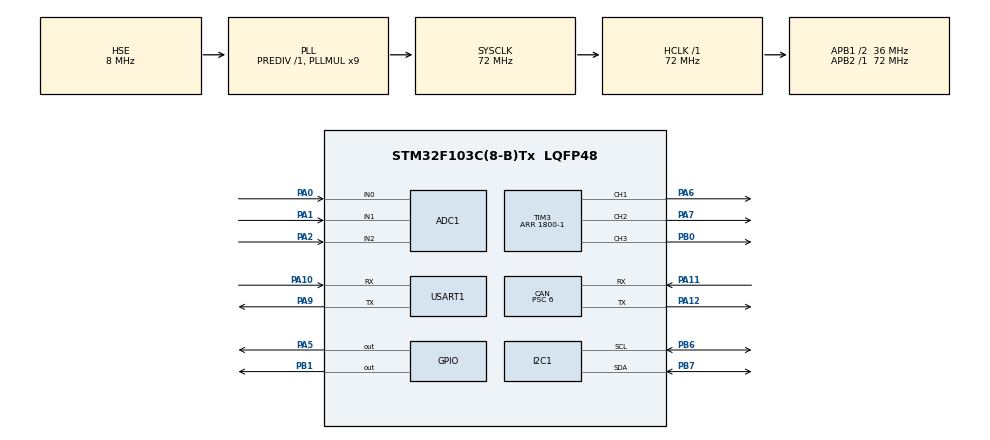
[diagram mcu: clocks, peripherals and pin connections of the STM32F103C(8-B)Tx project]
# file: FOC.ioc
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ADC1.Channel-0\#ChannelRegularConversion=ADC_CHANNEL_0
ADC1.Channel-1\#ChannelRegularConversion=ADC_CHANNEL_1
ADC1.Channel-2\#ChannelRegularConversion=ADC_CHANNEL_2
ADC1.ContinuousConvMode=ENABLE
ADC1.ExternalTrigConv=ADC_SOFTWARE_START
ADC1.NbrOfConversion=3
ADC1.NbrOfConversionFlag=1
ADC1.Rank-0\#ChannelRegularConversion=1
ADC1.Rank-1\#ChannelRegularConversion=2
ADC1.Rank-2\#ChannelRegularConversion=3
ADC1.SamplingTime-0\#ChannelRegularConversion=ADC_SAMPLETIME_1CYCLE_5
ADC1.SamplingTime-1\#ChannelRegularConversion=ADC_SAMPLETIME_1CYCLE_5
ADC1.SamplingTime-2\#ChannelRegularConversion=ADC_SAMPLETIME_1CYCLE_5
ADC1.master=1
CAN.BS1=CAN_BS1_3TQ
CAN.BS2=CAN_BS2_2TQ
CAN.CalculateBaudRate=999999
CAN.CalculateTimeBit=1000
CAN.CalculateTimeQuantum=166.66666666666669
CAN.Mode=CAN_MODE_NORMAL
CAN.Prescaler=6
Dma.ADC1.0.Direction=DMA_PERIPH_TO_MEMORY
Dma.ADC1.0.Instance=DMA1_Channel1
Dma.ADC1.0.MemDataAlignment=DMA_MDATAALIGN_HALFWORD
Dma.ADC1.0.MemInc=DMA_MINC_ENABLE
Dma.ADC1.0.Mode=DMA_CIRCULAR
Dma.ADC1.0.PeriphDataAlignment=DMA_PDATAALIGN_HALFWORD
Dma.ADC1.0.PeriphInc=DMA_PINC_DISABLE
Dma.ADC1.0.Priority=DMA_PRIORITY_LOW
Dma.Request0=ADC1
I2C1.I2C_Mode=I2C_Fast
Mcu.Family=STM32F1
Mcu.Name=STM32F103C(8-B)Tx
Mcu.Package=LQFP48
NVIC.CAN1_RX1_IRQn=true\:0\:0\:false\:false\:true\:true\:true\:true
NVIC.PriorityGroup=NVIC_PRIORITYGROUP_4
NVIC.TIM1_BRK_IRQn=true\:1\:0\:true\:false\:true\:true\:true\:true
NVIC.TIM1_CC_IRQn=true\:1\:0\:true\:false\:true\:true\:true\:true
NVIC.TIM1_TRG_COM_IRQn=true\:1\:0\:true\:false\:true\:true\:true\:true
NVIC.TIM1_UP_IRQn=true\:1\:0\:true\:false\:true\:true\:true\:true
NVIC.TIM3_IRQn=true\:0\:0\:false\:false\:true\:true\:true\:true
NVIC.USART1_IRQn=true\:0\:0\:false\:false\:true\:true\:true\:true
NVIC.USB_LP_CAN1_RX0_IRQn=true\:0\:0\:false\:false\:true\:true\:true\:true
PA0-WKUP.Signal=ADCx_IN0
PA1.Signal=ADCx_IN1
PA10.GPIO_PuPd=GPIO_PULLUP
PA10.Mode=Asynchronous
PA10.Signal=USART1_RX
PA11.Mode=CAN_Activate
PA11.Signal=CAN_RX
PA12.Mode=CAN_Activate
PA12.Signal=CAN_TX
PA13.Mode=Serial_Wire
PA13.Signal=SYS_JTMS-SWDIO
PA14.Mode=Serial_Wire
PA14.Signal=SYS_JTCK-SWCLK
PA2.Signal=ADCx_IN2
PA5.Signal=GPIO_Output
PA6.Signal=S_TIM3_CH1
PA7.Signal=S_TIM3_CH2
PA9.Mode=Asynchronous
PA9.Signal=USART1_TX
PB0.Signal=S_TIM3_CH3
PB1.Signal=GPIO_Output
PB6.Mode=I2C
PB6.Signal=I2C1_SCL
PB7.Mode=I2C
PB7.Signal=I2C1_SDA
PD0-OSC_IN.Mode=HSE-External-Oscillator
PD0-OSC_IN.Signal=RCC_OSC_IN
PD1-OSC_OUT.Mode=HSE-External-Oscillator
PD1-OSC_OUT.Signal=RCC_OSC_OUT
ProjectManager.HeapSize=0x200
ProjectManager.StackSize=0x400
ProjectManager.TargetToolchain=MDK-ARM V5
RCC.ADCPresc=RCC_ADCPCLK2_DIV6
RCC.AHBFreq_Value=72000000
RCC.APB1CLKDivider=RCC_HCLK_DIV2
RCC.APB1Freq_Value=36000000
RCC.APB1TimFreq_Value=72000000
RCC.APB2Freq_Value=72000000
RCC.APB2TimFreq_Value=72000000
RCC.HCLKFreq_Value=72000000
RCC.PLLMUL=RCC_PLL_MUL9
RCC.PLLSourceVirtual=RCC_PLLSOURCE_HSE
RCC.SYSCLKFreq_VALUE=72000000
RCC.SYSCLKSource=RCC_SYSCLKSOURCE_PLLCLK
RCC.USBFreq_Value=72000000
SH.ADCx_IN0.0=ADC1_IN0,IN0
SH.ADCx_IN1.0=ADC1_IN1,IN1
SH.ADCx_IN2.0=ADC1_IN2,IN2
SH.S_TIM3_CH1.0=TIM3_CH1,PWM Generation1 CH1
SH.S_TIM3_CH2.0=TIM3_CH2,PWM Generation2 CH2
SH.S_TIM3_CH3.0=TIM3_CH3,PWM Generation3 CH3
TIM1.Period=100-1
TIM1.Prescaler=36-1
TIM3.Channel-PWM\ Generation1\ CH1=TIM_CHANNEL_1
TIM3.Channel-PWM\ Generation2\ CH2=TIM_CHANNEL_2
TIM3.Channel-PWM\ Generation3\ CH3=TIM_CHANNEL_3
TIM3.Channel-PWM\ Generation4\ No\ Output=TIM_CHANNEL_4
TIM3.CounterMode=TIM_COUNTERMODE_CENTERALIGNED1
TIM3.OCMode_PWM-PWM\ Generation4\ No\ Output=TIM_OCMODE_PWM2
TIM3.Period=1800-1
TIM3.TIM_MasterOutputTrigger=TIM_TRGO_RESET
USART1.VirtualMode=VM_ASYNC
VP_TIM1_VS_ClockSourceINT.Mode=Internal
VP_TIM3_VS_ClockSourceINT.Mode=Internal
VP_TIM3_VS_no_output4.Mode=PWM Generation4 No Output
board=custom

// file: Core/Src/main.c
/* USER CODE BEGIN Header */
/**
  ******************************************************************************
  * @file           : main.c
  * @brief          : Main program body
  ******************************************************************************
  */
/* USER CODE END Header */
#include "main.h"
#include "adc.h"
#include "can.h"
#include "dma.h"
#include "i2c.h"
#include "tim.h"
#include "usart.h"
#include "gpio.h"

/* USER CODE BEGIN Includes */
#include "Foc.h"
#include "drv_tim.h"
#include "drv_can.h"
#include "can_proto.h"
#include "motor_msg.h"
#include "uart_proto.h"
#include "motor_ctrl.h"
#include "angle_as5600.h"
#include "pwm_3phase.h"
#include "motor_config.h"
#include "flash_storage.h"
#include "led_indicator.h"
/* 差分法观测器（角度直通，速度差分） */
/* #include "observer_diff.h" */
/* 龙伯格观测器（二阶模型，同时滤波位置和速度） */
#include "observer_luenberger.h"
/* USER CODE END Includes */

/* USER CODE BEGIN PD */

/** @brief FOC 控制频率 (Hz) —— 观测器和 FOC 共用的唯一频率源头 */
#define FOC_RATE_HZ  1000.0f

/* USER CODE END PD */

/* USER CODE BEGIN PV */
float vofa_message[8];
/* USER CODE END PV */

void SystemClock_Config(void);
/* USER CODE BEGIN PFP */
static void IWDG_Init(void);
static void VOFA_SendDebug(void);
/* USER CODE END PFP */

int main(void)
{

  /* MCU Configuration--------------------------------------------------------*/

  /* Reset of all peripherals, Initializes the Flash interface and the Systick. */
  HAL_Init();

  /* Configure the system clock */
  SystemClock_Config();

  /* Initialize all configured peripherals */
  MX_GPIO_Init();
  MX_DMA_Init();
  MX_I2C1_Init();
  MX_TIM3_Init();
  MX_TIM1_Init();
  MX_CAN_Init();
  MX_USART1_UART_Init();
  MX_ADC1_Init();
  /* USER CODE BEGIN 2 */

  /* ================================================================
   *  第 1 步：电机硬件配置
   *
   *  MotorConfig_t 集中管理极对数、母线电压、控制频率，
   *  同时注入 FOC 控制器和 PWM 驱动，消除重复配置。
   * ================================================================ */
  MotorConfig_t cfg = {
      .pole_pairs  = 7,
      .bus_voltage = 12.0f,
      .rate_hz     = FOC_RATE_HZ,
  };

  /* ================================================================
   *  第 2 步：创建硬件接口实例
   *
   *  AS5600_Create()  →  填充 AngleSensor_t，封装 I2C
   *  PWM3Phase_Create() → 填充 PwmOutput_t，封装 TIM3 PWM
   *                      set_duty 接收归一化值，不再需要母线电压
   *
   *  换编码器 / 换 PWM 方案 = 只改下面两行
   * ================================================================ */
  HAL_Delay(100);
  AngleSensor_t sensor = AS5600_Create(&hi2c1);
  PwmOutput_t   pwm    = PWM3Phase_Create(&htim3);
  HAL_Delay(100);

  /* ================================================================
   *  第 3 步：创建非易失存储接口 + 观测器 + 初始化 FOC 控制器
   *
   *  FlashStorage_Create 封装 STM32 Flash 擦写，
   *  换其它介质（EEPROM/FRAM）只需换一个工厂函数。
   *
   *  观测器（Observer）负责将原始角度转为滤波后角度和估计速度。
   *  默认用差分法（ObserverDiff_Create），换龙伯格只需：
   *     ObserverLuenberger_Config obs_cfg = { .rate_hz = FOC_RATE_HZ, ... };
   *     Observer_t angle_obs = ObserverLuenberger_Create(&obs_cfg);
   *
   *  FOC_Init(&Motor, &sensor, &pwm, &cfg, &flash, &angle_obs)
   *  所有电机参数通过 cfg 传入，存储接口通过 flash 传入。
   *
   *  ⚠ 频率改一个地方就够了：改 #define FOC_RATE_HZ，观测器和 FOC 都同步。
   * ================================================================ */
  NvStorage_t flash = FlashStorage_Create(0x0800FC00, 0xF0C0F0C0, 1024);

  /* 创建角度/速度观测器（使用龙伯格观测器，同时滤波位置和速度） */
  ObserverLuenberger_Config obs_cfg = {
      .rate_hz   = FOC_RATE_HZ,
      .l1        = 0.5f,        /* 位置校正增益——提高跟踪速度，控制滞后在 ~2ms */
      .l2        = 1.0f,        /* 速度校正增益——轻柔估计，不给速度环注入抖动 */
      .speed_max = 10000.0f,    /* 速度限幅 (rpm) */
  };
  Observer_t angle_obs = ObserverLuenberger_Create(&obs_cfg);

  FOC_Init(&Motor, &sensor, &pwm, &cfg, &flash, &angle_obs);

  /* ================================================================
   *  第 4 步：设置 PID 参数
   *
   *  PID 已做时间归一化（integral *= dt），ki 值自动适配频率。
   *  你传入原来的 ki 值即可，效果不变。
   *
   *  原代码对照：
   *    pid_controller_create(&FOC_1.FOC_S_PID, 0.01, 0.004, 0, 1000, 1000, 6);
   *    → FOC_SetSpdPID(&Motor, 0.01, 0.004, 0, 6);
   *
   *    pid_controller_create(&FOC_1.FOC_P_PID, 5, 0, 0, 1000, 2000, 2000);
   *    → FOC_SetPosPID(&Motor, 5, 0, 0, 2000);
   * ================================================================ */
  FOC_SetSpdPID(&Motor, 0.1f,   0.004f, 0.0f, 6.0f);     /* 串级速度环（位置环内环） — Kp 从 0.01→0.1，解决稳态附近 P 项太弱靠积分慢爬 */
  FOC_SetPosPID(&Motor, 5.0f,   0.0f,   0.0f, 2000.0f);   /* 位置环 PD */
  FOC_SetSpdExtPID(&Motor, 0.05f, 0.01f, 0.0f, 12.0f);    /* 独立速度环 PI（速度模式专用） */

  /* ================================================================
   *  第 5 步：初始化驱动层 + 协议层
   *
   *  【初始化顺序很重要！】
   *  CAN_Init()       : 配置滤波器 + 启动 CAN 硬件
   *  MotorMsg_Init()  : 先初始化消息总线（消息总线准备就绪前，通信回调不能写它）
   *  CANProto_Init()  : 注册 CAN 回调（收到 CAN 帧 → 调 MotorMsg_OnFrameReceived）
   *  UARTProto_Init() : 使能 UART RX 中断（收到 UART 帧 → 调 MotorMsg_OnFrameReceived）
   *  TIM_Init()       : 最后启动时基中断（TIM1 硬件 20kHz → 软件 20 分频 → 1kHz FOC 循环）
   * ================================================================ */
  CAN_Init();
  HAL_Delay(100);
  MotorMsg_Init();    /* 先初始化消息总线 */
  CANProto_Init(1);    /* 再注册 CAN 回调，电机ID=1 → RX=0x001 TX=0x101 */
  UARTProto_Init();   /* 再使能 UART 接收 */
  TIM_Init();

  /* LED 初始状态：待机心跳（满亮度闪烁），覆盖默认的常灭 */
  LED_SetPattern(LED_PATTERN_HEARTBEAT);
  LED_SetBrightness(100);

  /* ================================================================
   *  第 6 步：注册控制回调
   *
   *  Motor_Loop()  : TIM1 中断 → 1kHz FOC 流水线
   * ================================================================ */
  TIM_RegisterCallback(Motor_Loop);

  /* ---- 启动独立看门狗（~2s 超时，主循环 + Motor_Loop 双重喂狗） ---- */
  IWDG_Init();

  /* USER CODE END 2 */

  /* Infinite loop */
  /* USER CODE BEGIN WHILE */
  while (1)
  {
      IWDG_REFRESH();   /* 喂独立看门狗 */
      VOFA_SendDebug();
    /* USER CODE END WHILE */

  }
}

void SystemClock_Config(void)
{
  RCC_OscInitTypeDef RCC_OscInitStruct = {0};
  RCC_ClkInitTypeDef RCC_ClkInitStruct = {0};
  RCC_PeriphCLKInitTypeDef PeriphClkInit = {0};

  /** Initializes the RCC Oscillators according to the specified parameters
  * in the RCC_OscInitTypeDef structure.
  */
  RCC_OscInitStruct.OscillatorType = RCC_OSCILLATORTYPE_HSE;
  RCC_OscInitStruct.HSEState = RCC_HSE_ON;
  RCC_OscInitStruct.HSEPredivValue = RCC_HSE_PREDIV_DIV1;
  RCC_OscInitStruct.HSIState = RCC_HSI_ON;
  RCC_OscInitStruct.PLL.PLLState = RCC_PLL_ON;
  RCC_OscInitStruct.PLL.PLLSource = RCC_PLLSOURCE_HSE;
  RCC_OscInitStruct.PLL.PLLMUL = RCC_PLL_MUL9;
  if (HAL_RCC_OscConfig(&RCC_OscInitStruct) != HAL_OK)
  {
    Error_Handler();
  }

  /** Initializes the CPU, AHB and APB buses clocks
  */
  RCC_ClkInitStruct.ClockType = RCC_CLOCKTYPE_HCLK|RCC_CLOCKTYPE_SYSCLK
                              |RCC_CLOCKTYPE_PCLK1|RCC_CLOCKTYPE_PCLK2;
  RCC_ClkInitStruct.SYSCLKSource = RCC_SYSCLKSOURCE_PLLCLK;
  RCC_ClkInitStruct.AHBCLKDivider = RCC_SYSCLK_DIV1;
  RCC_ClkInitStruct.APB1CLKDivider = RCC_HCLK_DIV2;
  RCC_ClkInitStruct.APB2CLKDivider = RCC_HCLK_DIV1;

  if (HAL_RCC_ClockConfig(&RCC_ClkInitStruct, FLASH_LATENCY_2) != HAL_OK)
  {
    Error_Handler();
  }
  PeriphClkInit.PeriphClockSelection = RCC_PERIPHCLK_ADC;
  PeriphClkInit.AdcClockSelection = RCC_ADCPCLK2_DIV6;
  if (HAL_RCCEx_PeriphCLKConfig(&PeriphClkInit) != HAL_OK)
  {
    Error_Handler();
  }
}

/* USER CODE BEGIN 4 */

/**
 * @brief  初始化独立看门狗（IWDG）
 *
 * 使用 LSI ~40kHz 时钟源，预分频 /256 → ~156.25 Hz。
 * 重装载值 312 → 超时 ≈ 312 / 156.25 ≈ 2.0s。
 *
 * 配置采用寄存器直接操作，不依赖 HAL_IWDG 模块，
 * 与 IWDG_REFRESH() 宏保持一致的风格。
 *
 * 调用时机：main() 中所有外设初始化完成后、主循环开始前。
 */
static void IWDG_Init(void)
{
    /* 开启 LSI 时钟（复位后默认关闭，需先启动再等就绪） */
    RCC->CSR |= RCC_CSR_LSION;
    while (!(RCC->CSR & RCC_CSR_LSIRDY));

    /* 解锁 PR / RLR 寄存器写保护 */
    IWDG->KR = 0x5555U;

    /* 预分频器 = /256: 40kHz / 256 = 156.25 Hz */
    IWDG->PR = 0x06U;

    /* 重装载 = 312: 312 / 156.25 ≈ 2.0s */
    IWDG->RLR = 0x0138U;

    /* 刷新计数器 */
    IWDG->KR = 0xAAAAU;

    /* 软件启动 IWDG（LSI 已就绪，启动后立即开始递减计数） */
    IWDG->KR = 0xCCCCU;
}

/**
 * @brief  通过 UART1 发送调试数据到 VOFA+ 串口示波器
 *
 * 帧格式（just-float 引擎）：
 *   8 × float (32 bytes) + 4-byte tail {0x00,0x00,0x80,0x7f}
 *
 * 触发条件：仅 CAN 模式下发送（由 MotorMsg_IsCANMode 判定）
 *   CAN 模式：VOFA+ 全速发送（UART 自定义协议停发，带宽空出）
 *   UART 模式：VOFA+ 停发（UART 自定义协议 1kHz 跑满）
 *
 * 通道映射：
 *   ch0 = 机械角度 (deg)        ch1 = 目标角度 (deg)
 *   ch2 = 转速 (rpm)            ch3 = 目标转速 (rpm)
 *   ch4 = Uq 电压 (V)           ch5 = 运行模式 (int)
 *   ch6 = 最近指令目标值          ch7 = 保留
 */
static void VOFA_SendDebug(void)
{
    /* 仅 CAN 模式下发送 VOFA+（UART 模式下让带宽给自定义协议 1kHz） */
    if (!MotorMsg_IsCANMode())
        return;

    vofa_message[0] = Motor.mech_angle;           /* ch0：机械角度 (deg)        */
    vofa_message[1] = Motor.target_angle;         /* ch1：目标角度 (deg)        */
    vofa_message[2] = Motor.speed;                /* ch2：转速 (rpm)            */
    vofa_message[3] = Motor.target_speed;         /* ch3：目标转速 (rpm)        */
    vofa_message[4] = Motor.Uq;                   /* ch4：Uq 输出电压 (V)       */
    vofa_message[5] = (float)MotorMsg_GetLastMode(); /* ch5：运行模式 (int)      */
    vofa_message[6] = MotorMsg_GetLastTarget();   /* ch6：最近指令目标值         */
    vofa_message[7] = 0.0f;                       /* ch7：保留                  */

    UARTProto_SendVOFA(vofa_message, 8);
}

/* USER CODE END 4 */

void Error_Handler(void)
{
  /* USER CODE BEGIN Error_Handler_Debug */
  /* 关断驱动芯片 + 禁用全部中断 */
  GPIOB->BRR = GPIO_PIN_1;
  __disable_irq();

  /* LED 快闪指示错误状态（~110ms 间隔，手动翻转 PA5，约 2s 后 IWDG 复位） */
  while (1)
  {
      /* 简单位翻转 —— 不依赖任何 ISR 或 HAL */
      GPIOA->ODR ^= GPIO_PIN_5;
      for (volatile uint32_t i = 0; i < 1000000U; i++) { }
  }
  /* USER CODE END Error_Handler_Debug */
}
